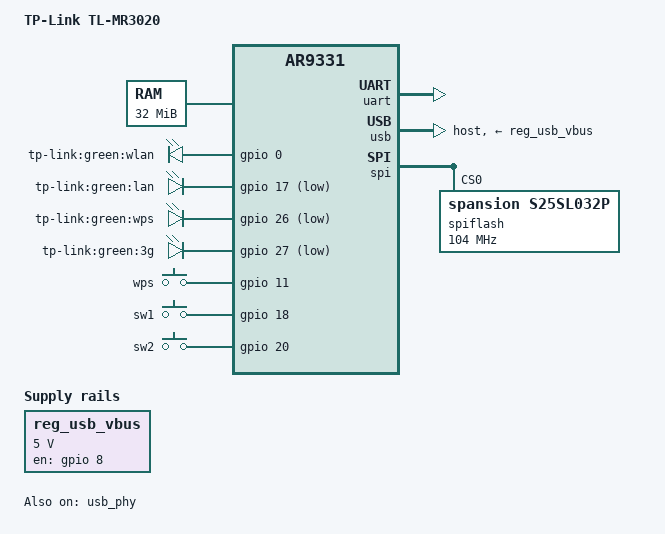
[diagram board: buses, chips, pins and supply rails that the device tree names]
// SPDX-License-Identifier: GPL-2.0
/dts-v1/;

#include <dt-bindings/gpio/gpio.h>
#include <dt-bindings/input/input.h>

#include "ar9331.dtsi"

/ {
	model = "TP-Link TL-MR3020";
	compatible = "tplink,tl-mr3020";

	aliases {
		serial0 = &uart;
	};

	memory@0 {
		device_type = "memory";
		reg = <0x0 0x2000000>;
	};

	leds {
		compatible = "gpio-leds";

		led-wlan {
			label = "tp-link:green:wlan";
			gpios = <&gpio 0 GPIO_ACTIVE_HIGH>;
			default-state = "off";
		};

		led-lan {
			label = "tp-link:green:lan";
			gpios = <&gpio 17 GPIO_ACTIVE_LOW>;
			default-state = "off";
		};

		led-wps {
			label = "tp-link:green:wps";
			gpios = <&gpio 26 GPIO_ACTIVE_LOW>;
			default-state = "off";
		};

		led-led3g {
			label = "tp-link:green:3g";
			gpios = <&gpio 27 GPIO_ACTIVE_LOW>;
			default-state = "off";
		};
	};

	gpio-keys {
		compatible = "gpio-keys";

		button-0 {
			label = "wps";
			linux,code = <KEY_WPS_BUTTON>;
			gpios = <&gpio 11 GPIO_ACTIVE_HIGH>;
		};

		button-1 {
			label = "sw1";
			linux,code = <BTN_0>;
			gpios = <&gpio 18 GPIO_ACTIVE_HIGH>;
		};

		button-2 {
			label = "sw2";
			linux,code = <BTN_1>;
			gpios = <&gpio 20 GPIO_ACTIVE_HIGH>;
		};
	};

	reg_usb_vbus: reg_usb_vbus {
		compatible = "regulator-fixed";
		regulator-name = "usb_vbus";
		regulator-min-microvolt = <5000000>;
		regulator-max-microvolt = <5000000>;
		gpio = <&gpio 8 GPIO_ACTIVE_HIGH>;
		enable-active-high;
	};
};

&ref {
	clock-frequency = <25000000>;
};

&uart {
	status = "okay";
};

&gpio {
	status = "okay";
};

&usb {
	dr_mode = "host";
	vbus-supply = <&reg_usb_vbus>;
	status = "okay";
};

&usb_phy {
	status = "okay";
};

&spi {
	num-chipselects = <1>;
	status = "okay";

	/* Spansion S25FL032PIF SPI flash */
	spiflash: s25sl032p@0 {
		#address-cells = <1>;
		#size-cells = <1>;
		compatible = "spansion,s25sl032p", "jedec,spi-nor";
		spi-max-frequency = <104000000>;
		reg = <0>;
	};
};
